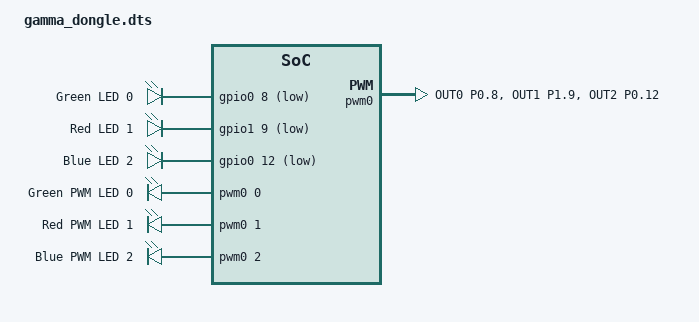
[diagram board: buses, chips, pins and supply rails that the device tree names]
/dts-v1/;

#include "gamma.dtsi"

/ {
	chosen {
		/*
		 * gamma.dtsi sets zephyr,console = &cdc_acm_uart so log output
		 * flows over USB serial. On the dongle, ZMK_USB_LOGGING is off
		 * and printk via CDC-ACM can stall if the host hasn't
		 * enumerated yet. Drop the console so printk goes nowhere.
		 */
		/delete-property/ zephyr,console;
		/* No battery on the dongle. */
		/delete-property/ zmk,battery;
	};

	leds {
		compatible = "gpio-leds";
		led0_green: led_0 {
			gpios = <&gpio0 8 GPIO_ACTIVE_LOW>;
			label = "Green LED 0";
		};
		led1_red: led_1 {
			gpios = <&gpio1 9 GPIO_ACTIVE_LOW>;
			label = "Red LED 1";
		};
		led2_blue: led_2 {
			gpios = <&gpio0 12 GPIO_ACTIVE_LOW>;
			label = "Blue LED 2";
		};
	};

	pwmleds {
		compatible = "pwm-leds";
		pwm_led0_green: pwm_led_0 {
			pwms = <&pwm0 0 PWM_MSEC(1) PWM_POLARITY_INVERTED>;
			label = "Green PWM LED 0";
		};
		pwm_led1_red: pwm_led_1 {
			pwms = <&pwm0 1 PWM_MSEC(1) PWM_POLARITY_INVERTED>;
			label = "Red PWM LED 1";
		};
		pwm_led2_blue: pwm_led_2 {
			pwms = <&pwm0 2 PWM_MSEC(1) PWM_POLARITY_INVERTED>;
			label = "Blue PWM LED 2";
		};
	};

	aliases {
		led0 = &led0_green;
		led1 = &led1_red;
		led2 = &led2_blue;
		led0-green = &led0_green;
		led1-red   = &led1_red;
		led1-blue  = &led2_blue;
		pwm-led0 = &pwm_led0_green;
		pwm-led1 = &pwm_led1_red;
		pwm-led2 = &pwm_led2_blue;
		green-pwm-led = &pwm_led0_green;
		red-pwm-led = &pwm_led1_red;
		blue-pwm-led = &pwm_led2_blue;
	};
};

// Set dummy pin that is not triggered by dongle code
&kscan0 {
    input-gpios
        = <&gpio0 31 (GPIO_ACTIVE_LOW | GPIO_PULL_UP)>
        ;
};

/*
 * The dongle hardware has no WS2812 strip, no I2C peripherals, and no
 * VBATT divider — disable the inherited nodes so their drivers don't
 * SYS_INIT against missing hardware on boot.
 */
&spi3 { status = "disabled"; };
&led_strip { status = "disabled"; };
&i2c0 { status = "disabled"; };
&vbatt { status = "disabled"; };

&pwm0 {
	status = "okay";
	pinctrl-0 = <&pwm0_default>;
	pinctrl-1 = <&pwm0_sleep>;
	pinctrl-names = "default", "sleep";
};

&pinctrl {
	pwm0_default: pwm0_default {
		group1 {
			psels = <NRF_PSEL(PWM_OUT0, 0, 8)>,
				<NRF_PSEL(PWM_OUT1, 1, 9)>,
				<NRF_PSEL(PWM_OUT2, 0, 12)>;
			nordic,invert;
		};
	};

	pwm0_sleep: pwm0_sleep {
		group1 {
			psels = <NRF_PSEL(PWM_OUT0, 0, 8)>,
				<NRF_PSEL(PWM_OUT1, 1, 9)>,
				<NRF_PSEL(PWM_OUT2, 0, 12)>;
			low-power-enable;
		};
	};
};
